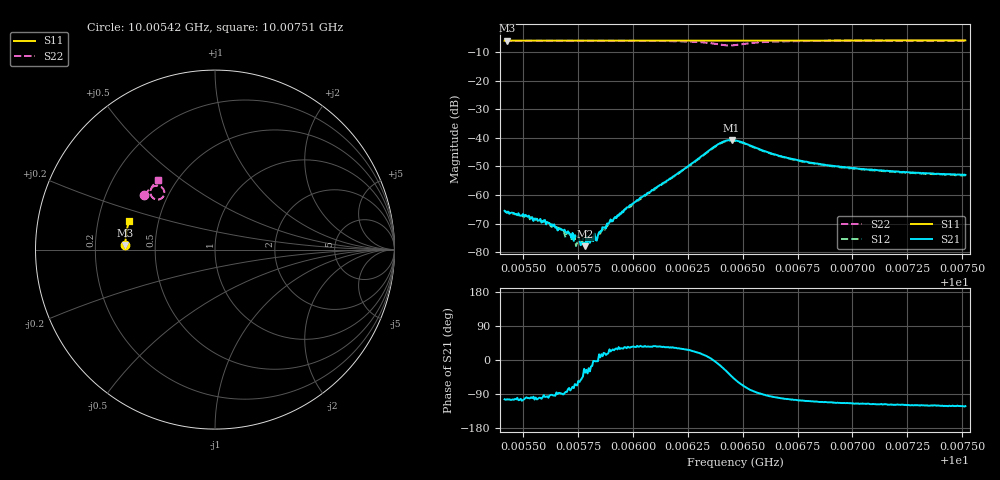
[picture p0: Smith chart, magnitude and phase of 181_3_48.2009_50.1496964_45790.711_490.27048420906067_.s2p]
#  HZ  S  RI  R  50.00
! Rohde & Schwarz Vector Network Analyzer
! Rohde-Schwarz,ZNB20-2Port,1311601062101988,3.16
! Created: UTC 3/20/2024, 11:44:08 AM
! freq[Hz]  re:S11  im:S11  re:S21  im:S21  re:S12  im:S12  re:S22  im:S22
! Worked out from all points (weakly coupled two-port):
!   401 points, 10.00542 GHz to 10.00751 GHz, reference 50 ohm
!   highest |S21| = -40.78 dB at 10.00645 GHz (marker M1); lowest = -77.9 dB at 10.00578 GHz (marker M2)
!   lowest |S11| = -6.0 dB at 10.00543 GHz (marker M3), VSWR 3.00, Z = 16.7 + j1.12 ohm
!   |S11| at or under -10 dB: nowhere
!   |S22| runs from -7.7 to -6.0 dB; largest |S21 - S12| = 0.00053
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1.0005415e10  -0.4999 0.0245  -0.000126 -0.000512  -9.4e-05 -0.000502  -0.3934 0.3025
1.0005426e10  -0.4997 0.0252  -0.000117 -0.000481  -8.41e-05 -0.000476  -0.3932 0.3032
1.0005604e10  -0.4993 0.037  -3.72e-05 -0.000304  -1.91e-05 -0.000333  -0.385 0.3138
1.0005673e10  -0.4993 0.0415  7.16e-06 -0.000254  2.44e-05 -0.000247  -0.3819 0.3179
1.000572e10  -0.4991 0.0445  4.39e-05 -0.000173  4.67e-05 -0.000163  -0.3794 0.321
1.0005746e10  -0.4989 0.0462  7.47e-05 -0.000177  9.07e-05 -0.000115  -0.378 0.3225
1.0005767e10  -0.4988 0.0474  9.17e-05 -0.000105  9.44e-05 -0.000109  -0.377 0.3239
1.0005772e10  -0.4988 0.0479  0.000108 -0.000102  0.000133 -0.000114  -0.3766 0.3244
1.0005783e10  -0.4988 0.0484  0.000106 -6.97e-05  0.000115 -7.43e-05  -0.3761 0.3249
1.000583e10  -0.4986 0.0516  0.000163 -9.99e-06  0.00018 -1.51e-05  -0.3734 0.328
1.0005856e10  -0.4985 0.0532  0.000223 6.03e-05  0.000224 7.22e-05  -0.3717 0.3296
1.0005893e10  -0.4983 0.0556  0.000291 0.000156  0.000304 0.000142  -0.3695 0.3321
1.0005956e10  -0.4981 0.0598  0.000431 0.000251  0.000427 0.0003  -0.3655 0.3363
1.0006119e10  -0.4967 0.0704  0.00117 0.000848  0.00113 0.000869  -0.3504 0.348
1.0006381e10  -0.4941 0.0871  0.00738 -0.000885  0.00719 -0.000485  -0.2846 0.3304
1.0006418e10  -0.4935 0.089  0.00793 -0.00369  0.0079 -0.00328  -0.2843 0.3036
1.0006449e10  -0.4934 0.091  0.00667 -0.00624  0.00686 -0.00576  -0.3001 0.2841
1.0006465e10  -0.4932 0.0918  0.00563 -0.00707  0.00586 -0.00664  -0.3113 0.2794
1.0006659e10  -0.492 0.1042  -0.000802 -0.0049  -0.000608 -0.00484  -0.3595 0.3239
1.0006817e10  -0.49 0.1143  -0.00119 -0.00344  -0.00103 -0.00344  -0.3526 0.3455
1.0007168e10  -0.485 0.1364  -0.00124 -0.00232  -0.00108 -0.00232  -0.3337 0.3718
1.0007515e10  -0.4792 0.158  -0.00118 -0.00191  -0.00106 -0.00193  -0.3158 0.3902
